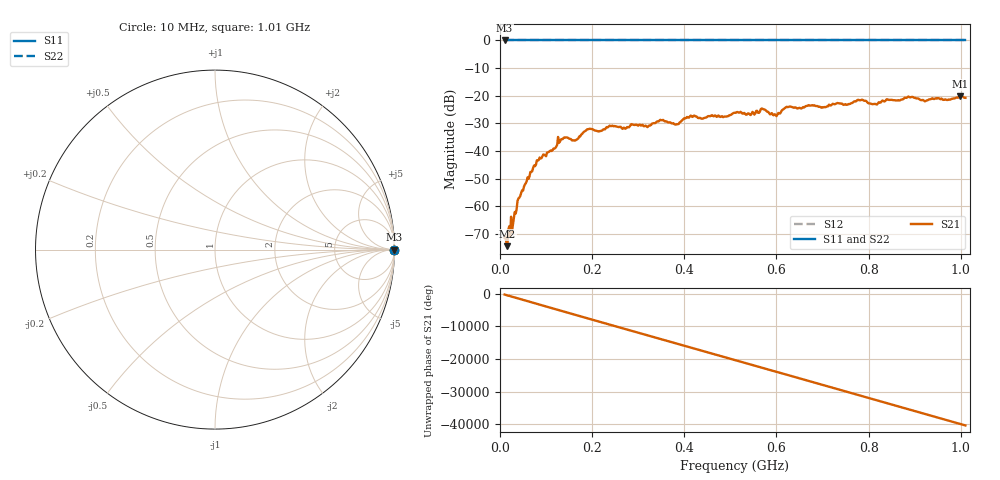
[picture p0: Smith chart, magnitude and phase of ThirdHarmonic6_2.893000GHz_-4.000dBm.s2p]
! 8/17/2025 7:58:11 AM
! C:\ANRITSUVNA\TEMP\TEMP.S2P
! CHANNEL.1
! TR.MEASUREMENT
! RAW.DATA
! RF.CORRECTION.OFF
! AVERAGING.OFF
! IF.BANDWIDTH: 5KHZ
! SWEEPTYPE:  FREQ.SWEEP(Linear)
! Reference Plane Port Info
! PORT:  PORT1  PORT2
! DISTANCE:  0  m  0  m
! TIME:  0  s  0  s
! PHASE.OFFSET:  0  deg.  0  deg.
! LOSS:  0  dB  0  dB
! REF.LOSS:  0  dB  0  dB
! REF.FREQ:  0  Hz  0  Hz
! Power Info
! POWER:  -20  dBm  -20  dBm
! EFF.POWER:  -20  dBm  -20  dBm
! SOURCE.ATTEN:  0  dB  0  dB
! TEST.ATTEN:  0  dB  0  dB
# GHZ S RI R 50.0
! FREQ.GHZ  S11RE  S11IM  S21RE  S21IM  S12RE  S12IM  S22RE  S22IM
!; PortSelection: Port_12
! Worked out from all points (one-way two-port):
!   501 points, 10 MHz to 1.01 GHz, reference 50 ohm
!   highest |S21| = -20.17 dB at 998 MHz (marker M1); lowest = -74.4 dB at 16 MHz (marker M2)
!   lowest |S11| = 0.0 dB at 10 MHz (marker M3)
!   |S11| at or under -10 dB: nowhere
!   |S22| runs from 0.0 to 0.0 dB; largest |S21 - S12| = 1.1
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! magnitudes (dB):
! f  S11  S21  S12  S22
! 10 MHz  0.0  -71.4  0.0  0.0
! 16 MHz  0.0  -74.4  0.0  0.0
! 30 MHz  0.0  -64.2  0.0  0.0
! 42 MHz  0.0  -56.8  0.0  0.0
! 82 MHz  0.0  -43.4  0.0  0.0
! 130 MHz  0.0  -36.6  0.0  0.0
! 162 MHz  0.0  -36.2  0.0  0.0
! 178 MHz  0.0  -33.8  0.0  0.0
! 194 MHz  0.0  -31.9  0.0  0.0
! 322 MHz  0.0  -31.0  0.0  0.0
! 344 MHz  0.0  -29.3  0.0  0.0
! 384 MHz  0.0  -30.2  0.0  0.0
! 416 MHz  0.0  -27.5  0.0  0.0
! 510 MHz  0.0  -26.2  0.0  0.0
! 570 MHz  0.0  -24.7  0.0  0.0
! 598 MHz  0.0  -26.9  0.0  0.0
! 624 MHz  0.0  -24.1  0.0  0.0
! 678 MHz  0.0  -23.4  0.0  0.0
! 814 MHz  0.0  -22.9  0.0  0.0
! 844 MHz  0.0  -21.5  0.0  0.0
! 998 MHz  0.0  -20.2  0.0  0.0
! 1.01 GHz  0.0  -20.7  0.0  0.0
